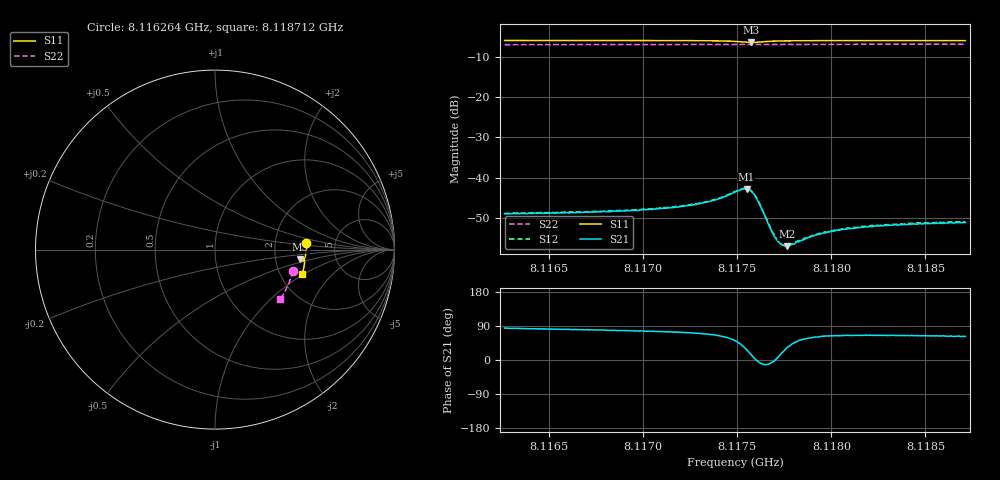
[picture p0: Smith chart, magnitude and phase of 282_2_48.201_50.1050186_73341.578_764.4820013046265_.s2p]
#  HZ  S  RI  R  50.00
! Rohde & Schwarz Vector Network Analyzer
! Rohde-Schwarz,ZNB20-2Port,1311601062101988,3.16
! Created: UTC 3/20/2024, 11:48:43 AM
! freq[Hz]  re:S11  im:S11  re:S21  im:S21  re:S12  im:S12  re:S22  im:S22
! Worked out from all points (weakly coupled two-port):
!   401 points, 8.116264 GHz to 8.118712 GHz, reference 50 ohm
!   highest |S21| = -42.81 dB at 8.117549 GHz (marker M1); lowest = -57.0 dB at 8.117764 GHz (marker M2)
!   lowest |S11| = -6.4 dB at 8.117574 GHz (marker M3), VSWR 2.84, Z = 139 - j19.5 ohm
!   |S11| at or under -10 dB: nowhere
!   |S22| runs from -7.0 to -6.8 dB; largest |S21 - S12| = 0.00018
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8.1162645e9  0.5055 0.0386  0.000359 0.00353  0.000462 0.00359  0.4329 -0.1197
8.1166744e9  0.5064 0.00737  0.000651 0.00364  0.000704 0.00368  0.4256 -0.1471
8.1170844e9  0.5049 -0.0246  0.00104 0.00398  0.00112 0.00402  0.4164 -0.1742
8.1171701e9  0.5041 -0.0317  0.00121 0.00411  0.00129 0.00416  0.4143 -0.1799
8.1172986e9  0.502 -0.0432  0.0016 0.00444  0.00167 0.00457  0.4108 -0.1882
8.1174087e9  0.4979 -0.054  0.00246 0.00496  0.0026 0.00499  0.4077 -0.1955
8.1174883e9  0.4899 -0.0619  0.00415 0.00514  0.00429 0.00518  0.4052 -0.2003
8.117525e9  0.483 -0.0626  0.00552 0.00448  0.00568 0.00455  0.4038 -0.2028
8.1175494e9  0.4779 -0.0599  0.00641 0.00337  0.00653 0.00333  0.4028 -0.2039
8.1175739e9  0.4758 -0.0541  0.00656 0.00162  0.00673 0.00162  0.4022 -0.205
8.1175923e9  0.4773 -0.0494  0.00605 0.000444  0.00615 0.000386  0.4018 -0.206
8.1176106e9  0.481 -0.0464  0.00507 -0.00038  0.00519 -0.000439  0.4014 -0.207
8.1176779e9  0.4933 -0.0496  0.00226 -0.000335  0.0023 -0.00039  0.4002 -0.2114
8.1177085e9  0.496 -0.0533  0.0017 8.63e-05  0.00173 8.99e-05  0.3993 -0.2133
8.1177269e9  0.497 -0.0556  0.00149 0.000353  0.00151 0.000324  0.3989 -0.2148
8.1177391e9  0.4975 -0.0571  0.00137 0.000501  0.00139 0.000456  0.3985 -0.2154
8.1177636e9  0.4981 -0.0601  0.00118 0.000756  0.00123 0.00078  0.3977 -0.217
8.1177942e9  0.4987 -0.0633  0.0011 0.00103  0.00112 0.00101  0.3967 -0.219
8.1178982e9  0.4986 -0.0736  0.000969 0.00161  0.000966 0.00165  0.3937 -0.2255
8.1180573e9  0.4971 -0.0872  0.000968 0.00205  0.000999 0.00209  0.3882 -0.2355
8.1183082e9  0.4934 -0.1068  0.00109 0.00231  0.00114 0.00235  0.3793 -0.2507
8.1187121e9  0.4857 -0.1365  0.00127 0.00244  0.00131 0.00251  0.3641 -0.2746
